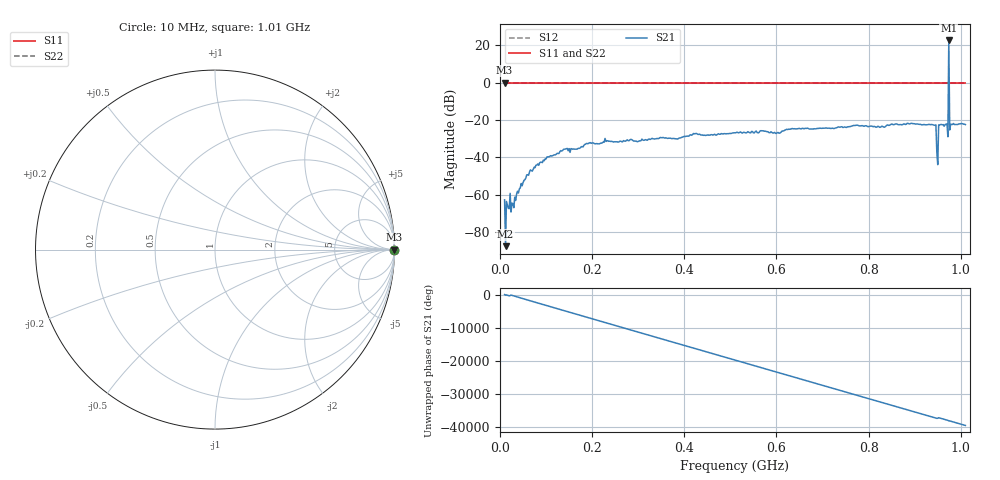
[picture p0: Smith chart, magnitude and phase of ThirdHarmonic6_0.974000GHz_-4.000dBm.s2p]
! 8/16/2025 7:25:57 AM
! C:\ANRITSUVNA\TEMP\TEMP.S2P
! CHANNEL.1
! TR.MEASUREMENT
! RAW.DATA
! RF.CORRECTION.OFF
! AVERAGING.OFF
! IF.BANDWIDTH: 5KHZ
! SWEEPTYPE:  FREQ.SWEEP(Linear)
! Reference Plane Port Info
! PORT:  PORT1  PORT2
! DISTANCE:  0  m  0  m
! TIME:  0  s  0  s
! PHASE.OFFSET:  0  deg.  0  deg.
! LOSS:  0  dB  0  dB
! REF.LOSS:  0  dB  0  dB
! REF.FREQ:  0  Hz  0  Hz
! Power Info
! POWER:  -20  dBm  -20  dBm
! EFF.POWER:  -20  dBm  -20  dBm
! SOURCE.ATTEN:  0  dB  0  dB
! TEST.ATTEN:  0  dB  0  dB
# GHZ S RI R 50.0
! FREQ.GHZ  S11RE  S11IM  S21RE  S21IM  S12RE  S12IM  S22RE  S22IM
!; PortSelection: Port_12
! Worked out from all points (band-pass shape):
!   501 points, 10 MHz to 1.01 GHz, reference 50 ohm
!   highest |S21| = 22.55 dB at 974 MHz (marker M1); lowest = -87.7 dB at 12 MHz (marker M2)
!   |S21| within 3 dB of the highest: 973.8837 MHz to 974.1252 MHz (241.4 kHz wide, 0.0248 % of centre)
!   lowest |S11| = 0.0 dB at 10 MHz (marker M3)
!   |S11| at or under -10 dB: nowhere
!   |S22| runs from 0.0 to 0.0 dB; largest |S21 - S12| = 14
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0.01  1 0  -0.000628 0.000353  1 0  1 0
0.012  1 0  4.1e-05 -4.9e-06  1 0  1 0
0.016  1 0  0.000248 -0.000473  1 0  1 0
0.028  1 0  -0.00055 0.00015  1 0  1 0
0.056  1 0  -0.000532 0.00269  1 0  1 0
0.078  1 0  0.00163 -0.00587  1 0  1 0
0.142  1 0  -0.0151 -0.00667  1 0  1 0
0.178  1 0  -0.0185 -0.00524  1 0  1 0
0.344  1 0  0.0312 -0.0041  1 0  1 0
0.51  1 0  -0.0435 0.0104  1 0  1 0
0.678  1 0  -0.0165 -0.0542  1 0  1 0
0.844  1 0  0.0386 0.0595  1 0  1 0
0.942  1 0  0.028 0.0667  1 0  1 0
0.946  1 0  -0.00229 -0.0734  1 0  1 0
0.952  1 0  0.0658 0.0322  1 0  1 0
0.956  1 0  -0.0513 -0.0541  1 0  1 0
0.968  1 0  -0.0186 0.0743  1 0  1 0
0.97  1 0  0.0712 0.0312  1 0  1 0
0.974  1 0  -11.54 6.819  1 0  1 0
0.978  1 0  0.0388 0.0652  1 0  1 0
0.98  1 0  0.0704 -0.0269  1 0  1 0
1.01  1 0  -0.0653 -0.0363  1 0  1 0
